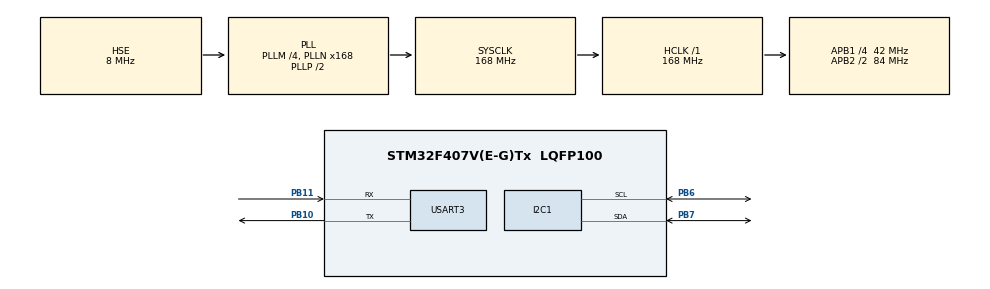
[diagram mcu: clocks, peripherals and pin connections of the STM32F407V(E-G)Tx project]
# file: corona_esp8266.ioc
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I2C1.I2C_Mode=I2C_Fast
Mcu.Family=STM32F4
Mcu.Name=STM32F407V(E-G)Tx
Mcu.Package=LQFP100
NVIC.PriorityGroup=NVIC_PRIORITYGROUP_4
NVIC.USART3_IRQn=true\:0\:0\:false\:false\:true\:true\:true
PB10.Mode=Asynchronous
PB10.Signal=USART3_TX
PB11.Mode=Asynchronous
PB11.Signal=USART3_RX
PB6.Mode=I2C
PB6.Signal=I2C1_SCL
PB7.Mode=I2C
PB7.Signal=I2C1_SDA
PH0-OSC_IN.Mode=HSE-External-Oscillator
PH0-OSC_IN.Signal=RCC_OSC_IN
PH1-OSC_OUT.Mode=HSE-External-Oscillator
PH1-OSC_OUT.Signal=RCC_OSC_OUT
ProjectManager.HeapSize=0x200
ProjectManager.StackSize=0x400
ProjectManager.TargetToolchain=STM32CubeIDE
RCC.48MHZClocksFreq_Value=84000000
RCC.AHBFreq_Value=168000000
RCC.APB1CLKDivider=RCC_HCLK_DIV4
RCC.APB1Freq_Value=42000000
RCC.APB1TimFreq_Value=84000000
RCC.APB2CLKDivider=RCC_HCLK_DIV2
RCC.APB2Freq_Value=84000000
RCC.APB2TimFreq_Value=168000000
RCC.CortexFreq_Value=168000000
RCC.HCLKFreq_Value=168000000
RCC.HSE_VALUE=8000000
RCC.HSI_VALUE=16000000
RCC.LSE_VALUE=32768
RCC.PLLM=4
RCC.PLLN=168
RCC.PLLSourceVirtual=RCC_PLLSOURCE_HSE
RCC.SYSCLKFreq_VALUE=168000000
RCC.SYSCLKSource=RCC_SYSCLKSOURCE_PLLCLK
RCC.VCOOutputFreq_Value=336000000
USART3.VirtualMode=VM_ASYNC
board=custom

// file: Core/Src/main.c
/* USER CODE BEGIN Header */
/**
  ******************************************************************************
  * @file           : main.c
  * @brief          : Main program body
  ******************************************************************************
  * @attention
  *
  * Copyright (c) 2022 STMicroelectronics.
  * All rights reserved.
  *
  * This software is licensed under terms that can be found in the LICENSE file
  * in the root directory of this software component.
  * If no LICENSE file comes with this software, it is provided AS-IS.
  *
  ******************************************************************************
  */
/* USER CODE END Header */
#include "main.h"

/* USER CODE BEGIN Includes */
#include "FUNCTIONS.h"
#include "ssd1306.h"
/* USER CODE END Includes */

I2C_HandleTypeDef hi2c1;

UART_HandleTypeDef huart3;

void SystemClock_Config(void);
static void MX_GPIO_Init(void);
static void MX_I2C1_Init(void);
static void MX_USART3_UART_Init(void);

/* USER CODE BEGIN 0 */
char Total[10];
char Deaths[6];
char Recovered[10];
/* USER CODE END 0 */

int main(void)
{

  /* MCU Configuration--------------------------------------------------------*/

  /* Reset of all peripherals, Initializes the Flash interface and the Systick. */
  HAL_Init();

  /* Configure the system clock */
  SystemClock_Config();

  /* Initialize all configured peripherals */
  MX_GPIO_Init();
  MX_I2C1_Init();
  MX_USART3_UART_Init();
  /* USER CODE BEGIN 2 */
SSD1306_Init();
SSD1306_GotoXY(0, 20);
SSD1306_Puts("Connecting..", &Font_11x18, 1);
SSD1306_UpdateScreen();

ESP_Init("burkes", "1231234b");
SSD1306_Clear();
  /* USER CODE END 2 */

  /* Infinite loop */
  while (1)
  {

    /* USER CODE BEGIN 3 */
	  SSD1306_GotoXY (0,0);
	  	  SSD1306_Puts ("COVID INDIA", &Font_11x18, 1);
	  	  SSD1306_GotoXY (0, 30);
	  	  SSD1306_Puts ("Live Feed", &Font_11x18, 1);
	  	  SSD1306_UpdateScreen(); //display

	  	  HAL_Delay (2000);

	  	  ESP_GetData("E21C5DJM2MYZS9ER", Total, Deaths, Recovered);

	  	  SSD1306_Clear();

	  	  SSD1306_GotoXY (30,0);
	        SSD1306_Puts ("TOTAL", &Font_11x18, 1);
	        SSD1306_GotoXY (20,30);
	        SSD1306_Puts(Total, &Font_11x18, 1);
	        SSD1306_UpdateScreen(); //display
	        HAL_Delay(5000);  // 2 sec
	        SSD1306_Clear();

	        SSD1306_GotoXY (20,0);
	        SSD1306_Puts ("DEATHS", &Font_11x18, 1);
	        SSD1306_GotoXY (30,30);
	        SSD1306_Puts(Deaths, &Font_11x18, 1);
	        SSD1306_UpdateScreen(); //display
	        HAL_Delay(5000);  // 2 sec
	        SSD1306_Clear();

	        SSD1306_GotoXY (5,0);
	        SSD1306_Puts ("RECOVERED", &Font_11x18, 1);
	        SSD1306_GotoXY (20,30);
	        SSD1306_Puts(Recovered, &Font_11x18, 1);
	        SSD1306_UpdateScreen(); //display
	        HAL_Delay(5000);  // 2 sec
	        SSD1306_Clear();

  }
  /* USER CODE END 3 */
}

void SystemClock_Config(void)
{
  RCC_OscInitTypeDef RCC_OscInitStruct = {0};
  RCC_ClkInitTypeDef RCC_ClkInitStruct = {0};

  /** Configure the main internal regulator output voltage
  */
  __HAL_RCC_PWR_CLK_ENABLE();
  __HAL_PWR_VOLTAGESCALING_CONFIG(PWR_REGULATOR_VOLTAGE_SCALE1);
  /** Initializes the RCC Oscillators according to the specified parameters
  * in the RCC_OscInitTypeDef structure.
  */
  RCC_OscInitStruct.OscillatorType = RCC_OSCILLATORTYPE_HSE;
  RCC_OscInitStruct.HSEState = RCC_HSE_ON;
  RCC_OscInitStruct.PLL.PLLState = RCC_PLL_ON;
  RCC_OscInitStruct.PLL.PLLSource = RCC_PLLSOURCE_HSE;
  RCC_OscInitStruct.PLL.PLLM = 4;
  RCC_OscInitStruct.PLL.PLLN = 168;
  RCC_OscInitStruct.PLL.PLLP = RCC_PLLP_DIV2;
  RCC_OscInitStruct.PLL.PLLQ = 4;
  if (HAL_RCC_OscConfig(&RCC_OscInitStruct) != HAL_OK)
  {
    Error_Handler();
  }
  /** Initializes the CPU, AHB and APB buses clocks
  */
  RCC_ClkInitStruct.ClockType = RCC_CLOCKTYPE_HCLK|RCC_CLOCKTYPE_SYSCLK
                              |RCC_CLOCKTYPE_PCLK1|RCC_CLOCKTYPE_PCLK2;
  RCC_ClkInitStruct.SYSCLKSource = RCC_SYSCLKSOURCE_PLLCLK;
  RCC_ClkInitStruct.AHBCLKDivider = RCC_SYSCLK_DIV1;
  RCC_ClkInitStruct.APB1CLKDivider = RCC_HCLK_DIV4;
  RCC_ClkInitStruct.APB2CLKDivider = RCC_HCLK_DIV2;

  if (HAL_RCC_ClockConfig(&RCC_ClkInitStruct, FLASH_LATENCY_5) != HAL_OK)
  {
    Error_Handler();
  }
}

static void MX_I2C1_Init(void)
{

  hi2c1.Instance = I2C1;
  hi2c1.Init.ClockSpeed = 400000;
  hi2c1.Init.DutyCycle = I2C_DUTYCYCLE_2;
  hi2c1.Init.OwnAddress1 = 0;
  hi2c1.Init.AddressingMode = I2C_ADDRESSINGMODE_7BIT;
  hi2c1.Init.DualAddressMode = I2C_DUALADDRESS_DISABLE;
  hi2c1.Init.OwnAddress2 = 0;
  hi2c1.Init.GeneralCallMode = I2C_GENERALCALL_DISABLE;
  hi2c1.Init.NoStretchMode = I2C_NOSTRETCH_DISABLE;
  if (HAL_I2C_Init(&hi2c1) != HAL_OK)
  {
    Error_Handler();
  }

}

static void MX_USART3_UART_Init(void)
{

  huart3.Instance = USART3;
  huart3.Init.BaudRate = 115200;
  huart3.Init.WordLength = UART_WORDLENGTH_8B;
  huart3.Init.StopBits = UART_STOPBITS_1;
  huart3.Init.Parity = UART_PARITY_NONE;
  huart3.Init.Mode = UART_MODE_TX_RX;
  huart3.Init.HwFlowCtl = UART_HWCONTROL_NONE;
  huart3.Init.OverSampling = UART_OVERSAMPLING_16;
  if (HAL_UART_Init(&huart3) != HAL_OK)
  {
    Error_Handler();
  }

}

static void MX_GPIO_Init(void)
{

  /* GPIO Ports Clock Enable */
  __HAL_RCC_GPIOH_CLK_ENABLE();
  __HAL_RCC_GPIOB_CLK_ENABLE();

}

void Error_Handler(void)
{
  __disable_irq();
  while (1)
  {
  }
}
